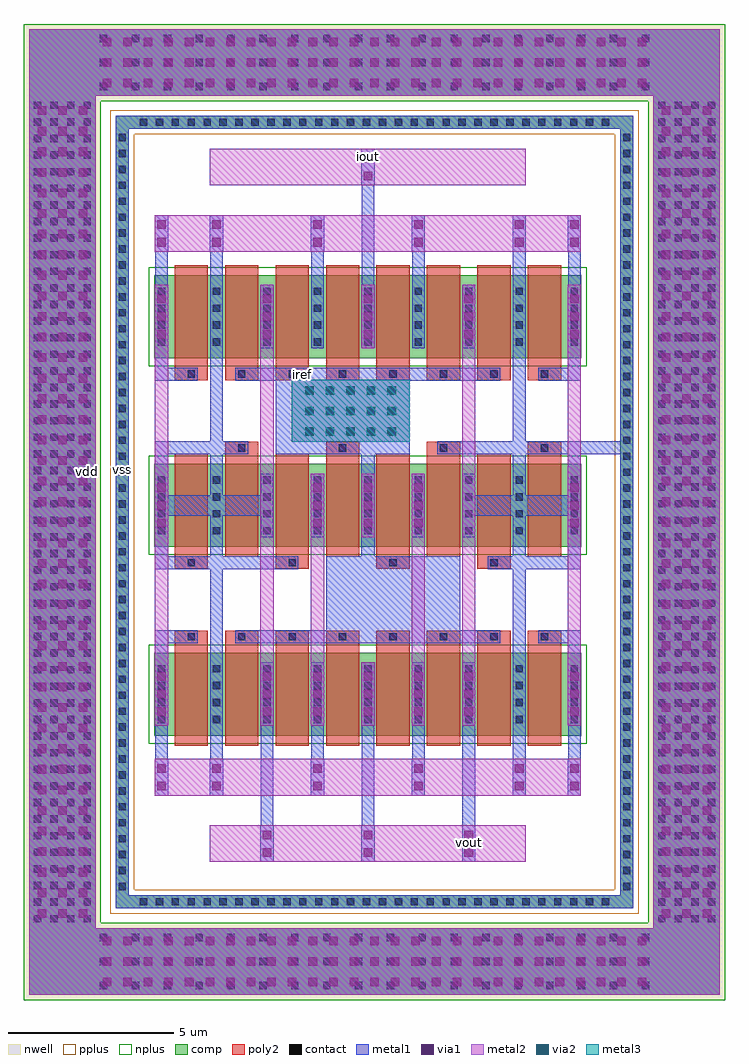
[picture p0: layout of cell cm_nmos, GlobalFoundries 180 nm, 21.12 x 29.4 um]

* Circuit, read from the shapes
.subckt cm_nmos iout iref vdd vout vss
XM1 vss vss vss vss nfet_03v3 w=2.5u l=1u m=10
XM2 vout iref vss vss nfet_03v3 w=2.5u l=1u m=10
XM3 iref iref vss vss nfet_03v3 w=2.5u l=1u m=2
XM4 iout iref vss vss nfet_03v3 w=2.5u l=1u m=2
.ends

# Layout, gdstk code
import gdstk
lib = gdstk.Library(unit=1e-6, precision=5e-09)
def R(c, l, rs):  # rectangles x0, y0, x1, y1
    for r in rs: c.add(gdstk.rectangle(r[:2], r[2:], *l))
def A(c, l, x, y, w, h, nx, ny, dx, dy):  # array of equal rectangles
    R(c, l, [(x+i*dx, y+j*dy, x+i*dx+w, y+j*dy+h) for i in range(nx) for j in range(ny)])
nwell = (21, 0)
comp = (22, 0)
poly2 = (30, 0)
pplus = (31, 0)
nplus = (32, 0)
contact = (33, 0)
metal1 = (34, 0)
via1 = (35, 0)
metal2 = (36, 0)
via2 = (38, 0)
metal3 = (42, 0)

via_dev = lib.new_cell('via_dev')
R(via_dev, metal1, [(0,0,0.4,1.91)])
A(via_dev, via1, 0.07, 0.295, 0.26, 0.26, 1, 3, 0, 0.53)
R(via_dev, metal2, [(0,0,0.4,1.91)])

via_dev_7 = lib.new_cell('via_dev$7')
R(via_dev_7, metal1, [(0,0,0.4,1.1)])
R(via_dev_7, via1, [(0.07,0.155,0.33,0.415), (0.07,0.685,0.33,0.945)])
R(via_dev_7, metal2, [(0,0,0.4,1.1)])

via_dev_2 = lib.new_cell('via_dev$2')
R(via_dev_2, metal1, [(0,0,3.56,1.87)])
A(via_dev_2, via1, 0.41, 0.185, 0.26, 0.26, 5, 3, 0.62, 0.62)
R(via_dev_2, metal2, [(0,0,3.56,1.87)])
A(via_dev_2, via2, 0.41, 0.185, 0.26, 0.26, 5, 3, 0.62, 0.62)
R(via_dev_2, metal3, [(0,0,3.56,1.87)])

nfet_5 = lib.new_cell('nfet$5')
R(nfet_5, comp, [(-0.42,0,0,2.5), (0,0,12.02,2.5), (12.02,0,12.44,2.5)])
A(nfet_5, poly2, 0.19, -0.66, 1, 0.36, 4, 1, 3.04, 0)
A(nfet_5, poly2, 0.19, -0.3, 1, 3.1, 8, 1, 1.52, 0)
A(nfet_5, poly2, 1.71, 2.8, 1, 0.36, 4, 1, 3.04, 0)
R(nfet_5, nplus, [(-0.59,-0.24,12.61,2.74)])
A(nfet_5, contact, 0.58, -0.59, 0.22, 0.22, 4, 1, 3.04, 0)
A(nfet_5, contact, -0.32, 0.375, 0.22, 0.22, 1, 4, 0, 0.51)
A(nfet_5, contact, 1.34, 0.375, 0.22, 0.22, 7, 4, 1.52, 0.51)
A(nfet_5, contact, 12.12, 0.375, 0.22, 0.22, 1, 4, 0, 0.51)
A(nfet_5, contact, 2.1, 2.87, 0.22, 0.22, 4, 1, 3.04, 0)
A(nfet_5, metal1, 0.5, -0.67, 0.38, 0.38, 4, 1, 3.04, 0)
A(nfet_5, metal1, 1.26, 0.295, 0.38, 1.91, 7, 1, 1.52, 0)
A(nfet_5, metal1, 2.02, 2.79, 0.38, 0.38, 4, 1, 3.04, 0)
R(nfet_5, metal1, [(-0.4,0.295,-0.02,2.205), (12.04,0.295,12.42,2.205)])

nfet_6 = lib.new_cell('nfet$6')
R(nfet_6, comp, [(-0.42,0,0,2.5), (0,0,12.02,2.5), (12.02,0,12.44,2.5)])
A(nfet_6, poly2, 0.19, -0.66, 1, 0.36, 8, 1, 1.52, 0)
A(nfet_6, poly2, 0.19, -0.3, 1, 3.1, 8, 1, 1.52, 0)
R(nfet_6, nplus, [(-0.59,-0.24,12.61,2.74)])
A(nfet_6, contact, 0.58, -0.59, 0.22, 0.22, 8, 1, 1.52, 0)
A(nfet_6, contact, -0.32, 0.375, 0.22, 0.22, 1, 4, 0, 0.51)
A(nfet_6, contact, 1.34, 0.375, 0.22, 0.22, 7, 4, 1.52, 0.51)
A(nfet_6, contact, 12.12, 0.375, 0.22, 0.22, 1, 4, 0, 0.51)
A(nfet_6, metal1, 0.5, -0.67, 0.38, 0.38, 8, 1, 1.52, 0)
A(nfet_6, metal1, 1.26, 0.295, 0.38, 1.91, 7, 1, 1.52, 0)
R(nfet_6, metal1, [(-0.4,0.295,-0.02,2.205), (12.04,0.295,12.42,2.205)])

nfet_7 = lib.new_cell('nfet$7')
R(nfet_7, comp, [(-0.42,0,0,2.5), (0,0,12.02,2.5), (12.02,0,12.44,2.5)])
A(nfet_7, poly2, 0.19, -0.3, 1, 3.1, 8, 1, 1.52, 0)
A(nfet_7, poly2, 0.19, 2.8, 1, 0.36, 8, 1, 1.52, 0)
R(nfet_7, nplus, [(-0.59,-0.24,12.61,2.74)])
A(nfet_7, contact, -0.32, 0.375, 0.22, 0.22, 1, 4, 0, 0.51)
A(nfet_7, contact, 1.34, 0.375, 0.22, 0.22, 7, 4, 1.52, 0.51)
A(nfet_7, contact, 12.12, 0.375, 0.22, 0.22, 1, 4, 0, 0.51)
A(nfet_7, contact, 0.58, 2.87, 0.22, 0.22, 8, 1, 1.52, 0)
A(nfet_7, metal1, 1.26, 0.295, 0.38, 1.91, 7, 1, 1.52, 0)
A(nfet_7, metal1, 0.5, 2.79, 0.38, 0.38, 8, 1, 1.52, 0)
R(nfet_7, metal1, [(-0.4,0.295,-0.02,2.205), (12.04,0.295,12.42,2.205)])

via_dev_15 = lib.new_cell('via_dev$15')
R(via_dev_15, comp, [(0,0,14.8,0.4)])
A(via_dev_15, contact, 0.33, 0.09, 0.22, 0.22, 30, 1, 0.48, 0)
R(via_dev_15, metal1, [(0,0,14.8,0.4)])

via_dev_20 = lib.new_cell('via_dev$20')
R(via_dev_20, comp, [(0,0,16.8,2)])
A(via_dev_20, contact, 0.13, 0.17, 0.22, 0.22, 18, 3, 0.96, 0.72)
R(via_dev_20, metal1, [(0,0,16.8,2)])
A(via_dev_20, via1, 0.21, 0.25, 0.26, 0.26, 27, 3, 0.62, 0.62)
R(via_dev_20, metal2, [(0,0,16.8,2)])

via_dev_19 = lib.new_cell('via_dev$19')
R(via_dev_19, comp, [(0,0,2,25.08)])
A(via_dev_19, contact, 0.14, 0.18, 0.22, 0.22, 4, 50, 0.5, 0.5)
R(via_dev_19, metal1, [(0,0,2,25.08)])
A(via_dev_19, via1, 0.25, 0.32, 0.26, 0.26, 3, 40, 0.62, 0.62)
R(via_dev_19, metal2, [(0,0,2,25.08)])

via_dev_16 = lib.new_cell('via_dev$16')
R(via_dev_16, comp, [(0,0,0.4,23.08)])
A(via_dev_16, contact, 0.09, 0.15, 0.22, 0.22, 1, 48, 0, 0.48)
R(via_dev_16, metal1, [(0,0,0.4,23.08)])

cm_nmos = lib.new_cell('cm_nmos')
R(cm_nmos, nwell, [(16.91,2.495,19.23,31.895), (16.91,2.495,38.03,4.815), (35.71,2.495,38.03,31.895), (16.91,29.575,38.03,31.895)])
R(cm_nmos, comp, [(17.07,2.655,19.07,4.655), (35.87,2.655,37.87,4.655), (19.67,5.255,20.07,5.655), (34.87,5.255,35.27,5.655), (19.67,28.735,20.07,29.135), (34.87,28.735,35.27,29.135), (17.07,29.735,19.07,31.735), (35.87,29.735,37.87,31.735)])
R(cm_nmos, pplus, [(19.51,5.095,20.23,29.295), (19.51,5.095,35.43,5.815), (34.71,5.095,35.43,29.295), (19.51,28.575,35.43,29.295)])
R(cm_nmos, nplus, [(16.91,2.495,38.03,4.815), (16.91,2.495,19.23,31.895), (35.71,2.495,38.03,31.895), (16.91,29.575,38.03,31.895)])
A(cm_nmos, metal1, 24.04, 7.755, 0.38, 3, 3, 1, 3.04, 0)
A(cm_nmos, metal1, 22.52, 9.755, 0.38, 1, 4, 2, 3.04, 14.28)
R(cm_nmos, metal1, [(17.07,2.655,19.07,4.655), (35.87,2.655,37.87,4.655), (19.67,5.255,20.07,5.655), (34.87,5.255,35.27,5.655), (30.12,7.755,30.5,10.755), (20.86,9.755,21.24,10.755), (33.3,9.755,33.68,10.755), (20.85,12.665,21.25,13.635), (22.52,12.665,22.9,16.44), (31.64,12.665,32.02,16.44), (33.29,12.665,33.69,13.635), (20.85,13.245,22.14,13.635), (23.28,13.245,31.26,13.635), (32.4,13.245,33.69,13.635), (26.01,13.635,30.05,15.86), (20.85,15.47,25.18,15.86), (20.85,15.47,21.25,16.44), (30.88,15.47,33.69,15.86), (33.29,15.47,33.69,16.44), (27.07,15.86,27.47,16.44), (21.24,17.075,24.04,17.7), (30.5,17.075,33.3,17.7), (20.85,18.35,21.25,19.32), (22.52,18.35,22.9,22.125), (27.07,18.35,27.47,18.93), (31.64,18.35,32.02,22.125), (33.29,18.35,33.69,19.32), (20.85,18.93,23.66,19.32), (24.49,18.93,28.53,21.155), (29.36,18.93,33.69,19.32), (33.69,18.93,34.87,19.32), (20.85,21.155,21.25,22.125), (20.85,21.155,22.14,21.545), (23.28,21.155,31.26,21.545), (32.4,21.155,33.69,21.545), (33.29,21.155,33.69,22.125), (20.86,24.035,21.24,25.035), (27.08,24.035,27.46,27.035), (33.3,24.035,33.68,25.035), (19.67,28.735,20.07,29.135), (34.87,28.735,35.27,29.135), (17.07,29.735,19.07,31.735), (35.87,29.735,37.87,31.735)])
R(cm_nmos, metal2, [(17.07,2.655,19.07,4.655), (35.87,2.655,37.87,4.655), (22.51,6.655,32.03,7.755), (20.85,8.655,33.69,9.755), (20.85,12.665,21.25,22.125), (24.03,12.665,24.43,22.125), (25.55,12.665,25.95,16.44), (28.59,12.665,28.99,16.44), (30.11,12.665,30.51,22.125), (33.29,12.665,33.69,22.125), (20.85,25.035,33.69,26.135), (22.51,27.035,32.03,28.135), (17.07,29.735,19.07,31.735), (35.87,29.735,37.87,31.735)])
cm_nmos.add(gdstk.Reference(via_dev, (30.11,10.755)))
cm_nmos.add(gdstk.Reference(via_dev, (27.07,16.44)))
cm_nmos.add(gdstk.Reference(via_dev_7, (31.63,25.035)))
cm_nmos.add(gdstk.Reference(via_dev_7, (27.07,6.655)))
cm_nmos.add(gdstk.Reference(via_dev_7, (31.63,8.655)))
cm_nmos.add(gdstk.Reference(via_dev, (30.11,22.125)))
cm_nmos.add(gdstk.Reference(via_dev, (25.55,16.44)))
cm_nmos.add(gdstk.Reference(via_dev, (27.07,22.125)))
cm_nmos.add(gdstk.Reference(via_dev, (28.59,16.44)))
cm_nmos.add(gdstk.Reference(via_dev_7, (20.85,8.655)))
cm_nmos.add(gdstk.Reference(via_dev_7, (22.51,8.655)))
cm_nmos.add(gdstk.Reference(via_dev_7, (25.55,8.655)))
cm_nmos.add(gdstk.Reference(via_dev_7, (28.59,8.655)))
cm_nmos.add(gdstk.Reference(via_dev_7, (33.29,8.655)))
cm_nmos.add(gdstk.Reference(via_dev_7, (24.03,6.655)))
cm_nmos.add(gdstk.Reference(via_dev_7, (30.11,6.655)))
cm_nmos.add(gdstk.Reference(via_dev_7, (20.85,25.035)))
cm_nmos.add(gdstk.Reference(via_dev_7, (22.51,25.035)))
cm_nmos.add(gdstk.Reference(via_dev_7, (25.55,25.035)))
cm_nmos.add(gdstk.Reference(via_dev_7, (28.59,25.035)))
cm_nmos.add(gdstk.Reference(via_dev_7, (33.29,25.035)))
cm_nmos.add(gdstk.Reference(via_dev_7, (27.07,27.035)))
cm_nmos.add(gdstk.Reference(via_dev, (25.55,10.755)))
cm_nmos.add(gdstk.Reference(via_dev, (28.59,10.755)))
cm_nmos.add(gdstk.Reference(via_dev_7, (30.11,6.655)))
cm_nmos.add(gdstk.Reference(via_dev, (24.03,10.755)))
cm_nmos.add(gdstk.Reference(via_dev, (27.07,10.755)))
cm_nmos.add(gdstk.Reference(via_dev, (24.03,22.125)))
cm_nmos.add(gdstk.Reference(via_dev, (20.85,22.125)))
cm_nmos.add(gdstk.Reference(via_dev, (20.85,16.44)))
cm_nmos.add(gdstk.Reference(via_dev, (20.85,10.755)))
cm_nmos.add(gdstk.Reference(via_dev, (33.29,22.125)))
cm_nmos.add(gdstk.Reference(via_dev, (33.29,16.44)))
cm_nmos.add(gdstk.Reference(via_dev, (33.29,10.755)))
cm_nmos.add(gdstk.Reference(via_dev_2, (24.97,19.305)))
cm_nmos.add(gdstk.Reference(nfet_5, (21.26,16.145)))
cm_nmos.add(gdstk.Reference(nfet_6, (21.26,21.83)))
cm_nmos.add(gdstk.Reference(nfet_7, (21.26,10.46)))
cm_nmos.add(gdstk.Reference(via_dev_15, (20.07,5.255)))
cm_nmos.add(gdstk.Reference(via_dev_20, (19.07,2.655)))
cm_nmos.add(gdstk.Reference(via_dev_15, (20.07,28.735)))
cm_nmos.add(gdstk.Reference(via_dev_19, (35.87,4.655)))
cm_nmos.add(gdstk.Reference(via_dev_16, (19.67,5.655)))
cm_nmos.add(gdstk.Reference(via_dev_16, (34.87,5.655)))
cm_nmos.add(gdstk.Reference(via_dev_20, (19.07,29.735)))
cm_nmos.add(gdstk.Reference(via_dev_19, (17.07,4.655)))
cm_nmos.add(gdstk.Label('vss', (19.89,18.485), layer=34, texttype=0))
cm_nmos.add(gdstk.Label('vdd', (18.82,18.425), layer=34, texttype=0))
cm_nmos.add(gdstk.Label('iout', (27.3,27.91), layer=34, texttype=10))
cm_nmos.add(gdstk.Label('vout', (30.32,7.235), layer=34, texttype=10))
cm_nmos.add(gdstk.Label('iref', (25.315,21.35), layer=34, texttype=10))

lib.write_gds('cm_nmos.gds')
